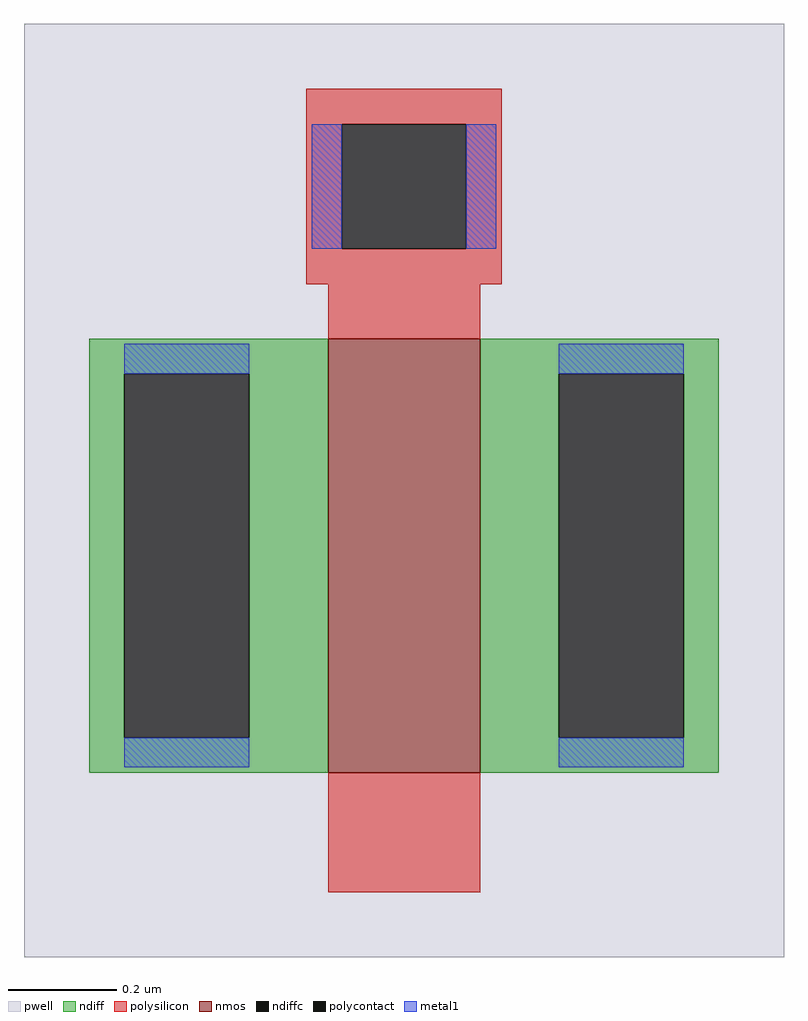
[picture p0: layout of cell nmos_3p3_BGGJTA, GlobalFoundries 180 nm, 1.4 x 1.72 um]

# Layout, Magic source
magic
tech gf180mcuC
magscale 1 10
<< pwell >>
rect -140 -172 140 172
<< nmos >>
rect -28 -104 28 56
<< ndiff >>
rect -116 43 -28 56
rect -116 -91 -103 43
rect -57 -91 -28 43
rect -116 -104 -28 -91
rect 28 43 116 56
rect 28 -91 57 43
rect 103 -91 116 43
rect 28 -104 116 -91
<< ndiffc >>
rect -103 -91 -57 43
rect 57 -91 103 43
<< polysilicon >>
rect -36 135 36 148
rect -36 89 -23 135
rect 23 89 36 135
rect -36 76 36 89
rect -28 56 28 76
rect -28 -148 28 -104
<< polycontact >>
rect -23 89 23 135
<< metal1 >>
rect -34 89 -23 135
rect 23 89 34 135
rect -103 43 -57 54
rect -103 -102 -57 -91
rect 57 43 103 54
rect 57 -102 103 -91
<< properties >>
string gencell nmos_3p3
string library gf180mcu
string parameters w 0.8 l 0.280 m 1 nf 1 diffcov 100 polycov 100 guard 0 glc 0 grc 0 gtc 0 gbc 0 tbcov 100 rlcov 100 topc 1 botc 0 poverlap 0 doverlap 1 lmin 0.28 wmin 0.22 full_metal 0 compatible {nmos_3p3 nmos_6p0 nmos_6p0_nat}
<< end >>
